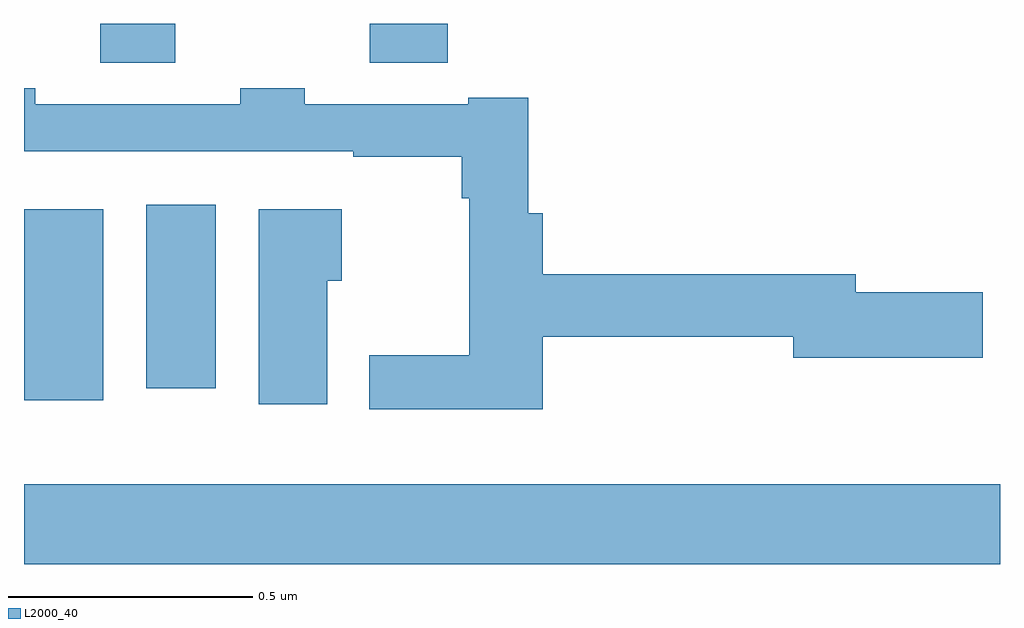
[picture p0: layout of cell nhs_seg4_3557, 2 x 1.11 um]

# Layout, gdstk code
import gdstk
lib = gdstk.Library(unit=1e-6, precision=1e-09)
def R(c, l, rs):  # rectangles x0, y0, x1, y1
    for r in rs: c.add(gdstk.rectangle(r[:2], r[2:], *l))
def P(c, l, *ps):  # polygons
    for p in ps: c.add(gdstk.Polygon(p, *l))
L2000_40 = (2000, 40)

nhs_seg4_3557 = lib.new_cell('nhs_seg4_3557')
R(nhs_seg4_3557, L2000_40, [(154,824.792,156,824.956), (154,825.128,154.162,825.52), (154.25,825.153,154.393,825.529), (154.156,825.82,154.31,825.9), (154.708,825.82,154.868,825.9)])
P(nhs_seg4_3557, L2000_40, [(155.063,825.258),(155.576,825.258),(155.576,825.215),(155.965,825.215),(155.965,825.35),(155.704,825.35),(155.704,825.386),(155.063,825.386),(155.063,825.511),(155.033,825.511),(155.033,825.748),(154.91,825.748),(154.91,825.735),(154.575,825.735),(154.575,825.768),(154.443,825.768),(154.443,825.735),(154.023,825.735),(154.023,825.768),(154,825.768),(154,825.639),(154.675,825.639),(154.675,825.627),(154.897,825.627),(154.897,825.542),(154.912,825.542),(154.912,825.22),(154.707,825.22),(154.707,825.11),(155.063,825.11)],
  [(154.621,825.373),(154.651,825.373),(154.651,825.52),(154.481,825.52),(154.481,825.12),(154.621,825.12)])

lib.write_gds('nhs_seg4_3557.gds')
